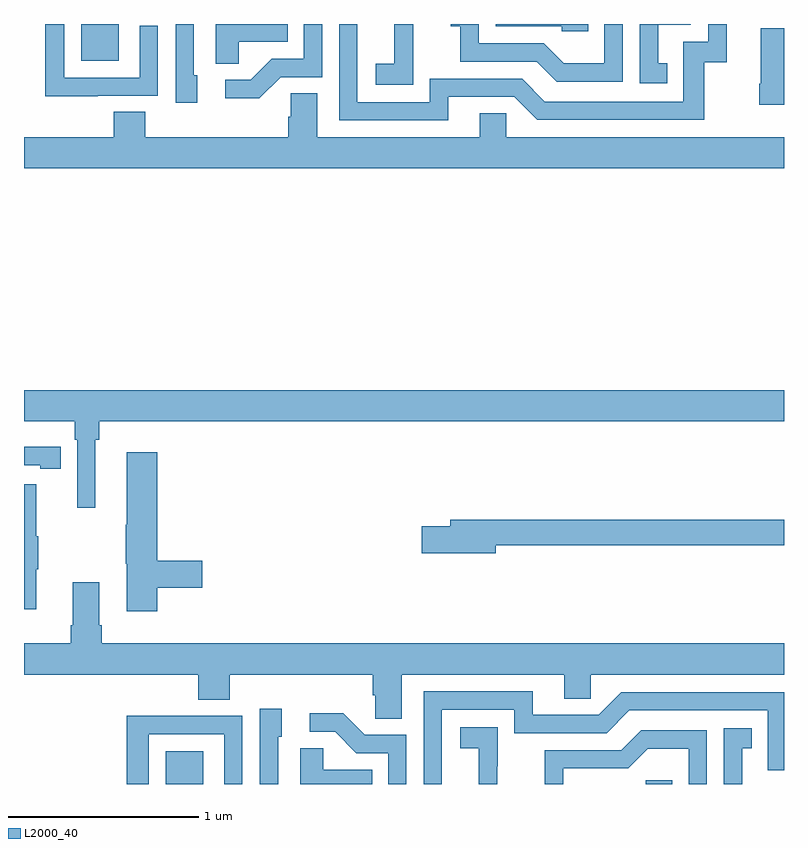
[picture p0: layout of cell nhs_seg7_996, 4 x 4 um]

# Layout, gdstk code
import gdstk
lib = gdstk.Library(unit=1e-6, precision=1e-09)
def R(c, l, rs):  # rectangles x0, y0, x1, y1
    for r in rs: c.add(gdstk.rectangle(r[:2], r[2:], *l))
def P(c, l, *ps):  # polygons
    for p in ps: c.add(gdstk.Polygon(p, *l))
L2000_40 = (2000, 40)

nhs_seg7_996 = lib.new_cell('nhs_seg7_996')
R(nhs_seg7_996, L2000_40, [(183.746,1040,183.943,1040.173), (186.273,1040,186.413,1040.019), (183.302,1043.807,183.499,1044)])
P(nhs_seg7_996, L2000_40, [(184.131,1043.906),(184.388,1043.906),(184.388,1044),(184.01,1044),(184.01,1043.791),(184.131,1043.791)],
  [(184.35,1043.721),(184.569,1043.721),(184.569,1044),(184.473,1044),(184.473,1043.817),(184.304,1043.817),(184.193,1043.706),(184.059,1043.706),(184.059,1043.609),(184.237,1043.609)],
  [(186.15,1044),(186.054,1044),(186.054,1043.794),(185.84,1043.794),(185.736,1043.898),(185.394,1043.898),(185.394,1044),(185.247,1044),(185.247,1043.987),(185.296,1043.987),(185.296,1043.802),(185.699,1043.802),(185.804,1043.697),(186.15,1043.697)],
  [(183.913,1043.73),(183.894,1043.73),(183.894,1044),(183.798,1044),(183.798,1043.586),(183.913,1043.586)],
  [(185.233,1043.616),(185.58,1043.616),(185.7,1043.496),(186.58,1043.496),(186.58,1043.799),(186.698,1043.799),(186.698,1044),(186.6,1044),(186.6,1043.907),(186.471,1043.907),(186.471,1043.592),(185.742,1043.592),(185.622,1043.712),(185.136,1043.712),(185.136,1043.589),(184.755,1043.589),(184.755,1044),(184.659,1044),(184.659,1043.493),(185.233,1043.493)],
  [(183.389,1043.622),(183.705,1043.622),(183.705,1043.992),(183.609,1043.992),(183.609,1043.718),(183.213,1043.718),(183.213,1044),(183.112,1044),(183.112,1043.621),(183.389,1043.621)],
  [(185.049,1043.887),(185.048,1043.887),(185.048,1044),(184.949,1044),(184.949,1043.791),(184.851,1043.791),(184.851,1043.681),(185.049,1043.681)],
  [(185.969,1044),(185.484,1044),(185.484,1043.988),(185.829,1043.988),(185.829,1043.961),(185.969,1043.961)],
  [(186.386,1043.793),(186.337,1043.793),(186.337,1043.997),(186.51,1043.997),(186.51,1044),(186.24,1044),(186.24,1043.688),(186.386,1043.688)],
  [(187,1043.977),(186.878,1043.977),(186.878,1043.686),(186.871,1043.686),(186.871,1043.574),(187,1043.574)],
  [(187,1043.404),(185.538,1043.404),(185.538,1043.531),(185.399,1043.531),(185.399,1043.404),(184.543,1043.404),(184.543,1043.636),(184.404,1043.636),(184.404,1043.513),(184.391,1043.513),(184.391,1043.404),(183.638,1043.404),(183.638,1043.537),(183.473,1043.537),(183.473,1043.404),(183,1043.404),(183,1043.24),(187,1043.24)],
  [(183.376,1041.812),(183.395,1041.812),(183.395,1041.908),(187,1041.908),(187,1042.072),(183,1042.072),(183,1041.908),(183.266,1041.908),(183.266,1041.812),(183.279,1041.812),(183.279,1041.453),(183.376,1041.453)],
  [(183.194,1041.774),(183.086,1041.774),(183.086,1041.775),(183,1041.775),(183,1041.678),(183.086,1041.678),(183.086,1041.658),(183.194,1041.658)],
  [(183.701,1041.034),(183.937,1041.034),(183.937,1041.176),(183.701,1041.176),(183.701,1041.745),(183.542,1041.745),(183.542,1041.365),(183.535,1041.365),(183.535,1041.159),(183.542,1041.159),(183.542,1040.91),(183.701,1040.91)],
  [(183.065,1041.131),(183.076,1041.131),(183.076,1041.305),(183.065,1041.305),(183.065,1041.577),(183,1041.577),(183,1040.919),(183.065,1040.919)],
  [(185.482,1041.256),(187,1041.256),(187,1041.392),(185.243,1041.392),(185.243,1041.356),(185.094,1041.356),(185.094,1041.214),(185.482,1041.214)],
  [(184.987,1040.576),(185.843,1040.576),(185.843,1040.449),(185.982,1040.449),(185.982,1040.576),(187,1040.576),(187,1040.74),(183.41,1040.74),(183.41,1040.836),(183.397,1040.836),(183.397,1041.061),(183.257,1041.061),(183.257,1040.836),(183.245,1040.836),(183.245,1040.74),(183,1040.74),(183,1040.576),(183.917,1040.576),(183.917,1040.443),(184.082,1040.443),(184.082,1040.576),(184.835,1040.576),(184.835,1040.467),(184.848,1040.467),(184.848,1040.344),(184.987,1040.344)],
  [(185.199,1040.391),(185.58,1040.391),(185.58,1040.268),(186.066,1040.268),(186.186,1040.388),(186.915,1040.388),(186.915,1040.073),(187,1040.073),(187,1040.484),(186.144,1040.484),(186.024,1040.364),(185.677,1040.364),(185.677,1040.487),(185.103,1040.487),(185.103,1040),(185.199,1040)],
  [(184.338,1040.25),(184.357,1040.25),(184.357,1040.395),(184.242,1040.395),(184.242,1040),(184.338,1040)],
  [(185.013,1040.259),(184.794,1040.259),(184.681,1040.372),(184.503,1040.372),(184.503,1040.274),(184.637,1040.274),(184.748,1040.163),(184.917,1040.163),(184.917,1040),(185.013,1040)],
  [(183.657,1040.262),(184.053,1040.262),(184.053,1040),(184.149,1040),(184.149,1040.358),(183.833,1040.358),(183.833,1040.36),(183.541,1040.36),(183.541,1040),(183.657,1040)],
  [(185.492,1040.093),(185.493,1040.093),(185.493,1040.299),(185.295,1040.299),(185.295,1040.189),(185.393,1040.189),(185.393,1040),(185.492,1040)],
  [(186.781,1040.187),(186.83,1040.187),(186.83,1040.293),(186.684,1040.293),(186.684,1040),(186.781,1040)],
  [(185.838,1040.082),(186.18,1040.082),(186.284,1040.186),(186.498,1040.186),(186.498,1040),(186.594,1040),(186.594,1040.283),(186.248,1040.283),(186.143,1040.178),(185.74,1040.178),(185.74,1040),(185.838,1040)],
  [(184.832,1040.074),(184.575,1040.074),(184.575,1040.189),(184.454,1040.189),(184.454,1040),(184.832,1040)])

lib.write_gds('nhs_seg7_996.gds')
